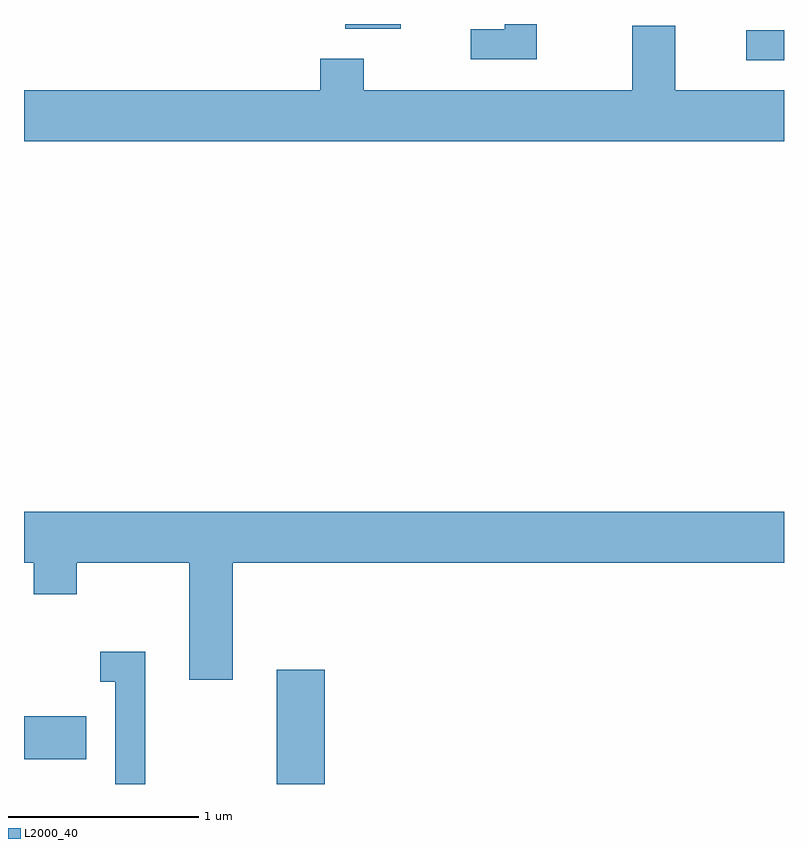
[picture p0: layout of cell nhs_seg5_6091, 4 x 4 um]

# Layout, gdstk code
import gdstk
lib = gdstk.Library(unit=1e-6, precision=1e-09)
def R(c, l, rs):  # rectangles x0, y0, x1, y1
    for r in rs: c.add(gdstk.rectangle(r[:2], r[2:], *l))
def P(c, l, *ps):  # polygons
    for p in ps: c.add(gdstk.Polygon(p, *l))
L2000_40 = (2000, 40)

nhs_seg5_6091 = lib.new_cell('nhs_seg5_6091')
R(nhs_seg5_6091, L2000_40, [(366.941,1460.072,367.194,1460.674), (365.611,1460.201,365.939,1460.429), (369.413,1463.881,369.611,1464.039), (367.301,1464.046,367.594,1464.072)])
P(nhs_seg5_6091, L2000_40, [(368.309,1464.072),(368.141,1464.072),(368.141,1464.044),(367.963,1464.044),(367.963,1463.886),(368.309,1463.886)],
  [(369.611,1463.724),(369.039,1463.724),(369.039,1464.064),(368.811,1464.064),(368.811,1463.724),(367.399,1463.724),(367.399,1463.889),(367.171,1463.889),(367.171,1463.724),(365.611,1463.724),(365.611,1463.456),(369.611,1463.456)],
  [(366.709,1461.236),(369.611,1461.236),(369.611,1461.504),(365.611,1461.504),(365.611,1461.236),(365.661,1461.236),(365.661,1461.071),(365.889,1461.071),(365.889,1461.236),(366.481,1461.236),(366.481,1460.621),(366.709,1460.621)],
  [(366.249,1460.769),(366.013,1460.769),(366.013,1460.611),(366.091,1460.611),(366.091,1460.072),(366.249,1460.072)])

lib.write_gds('nhs_seg5_6091.gds')
